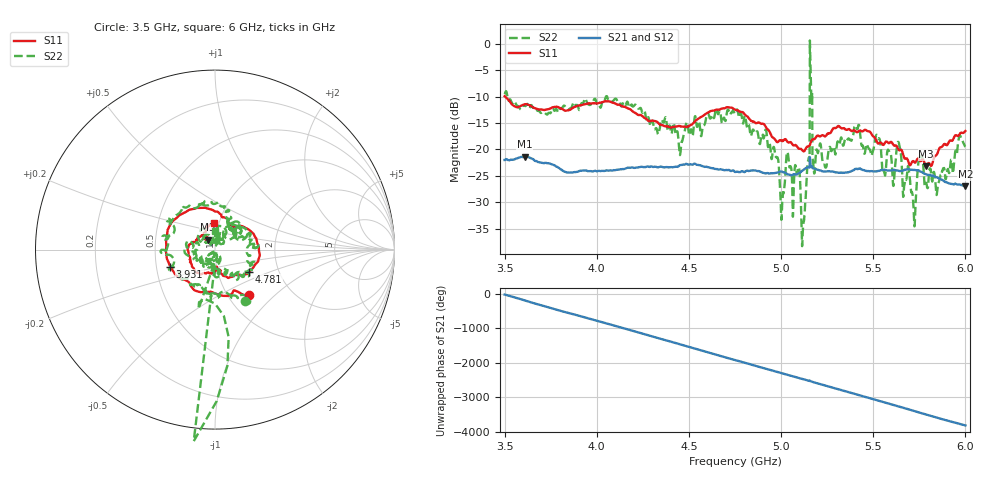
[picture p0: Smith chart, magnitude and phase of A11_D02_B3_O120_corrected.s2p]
! Created with skrf 1.9.0 (http://scikit-rf.org).
# Hz S RI R 50.0
!freq ReS11 ImS11 ReS21 ImS21 ReS12 ImS12 ReS22 ImS22
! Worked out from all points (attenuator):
!   1601 points, 3.5 GHz to 6 GHz, reference 50 ohm
!   highest |S21| = -21.37 dB at 3.609 GHz (marker M1); lowest = -26.9 dB at 6 GHz (marker M2)
!   lowest |S11| = -23.2 dB at 5.787 GHz (marker M3), VSWR 1.15, Z = 45.7 + j5.05 ohm
!   |S11| at or under -10 dB: 3.502 GHz to end of sweep
!   |S22| runs from -38.3 to 0.6 dB; largest |S21 - S12| = 0.00095
!   S11 on the Smith chart (normalised r, x): 3.5 GHz: 1.25, -0.71; 3.931 GHz: 0.59, -0.12; 4.781 GHz: 1.41, -0.37; 6 GHz: 0.95, +0.29
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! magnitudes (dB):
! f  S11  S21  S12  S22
! 3.5 GHz  -9.9  -22.0  -22.0  -9.5
! 3.609 GHz  -11.5  -21.4  -21.4  -11.8
! 3.917 GHz  -11.6  -24.0  -24.0  -11.3
! 3.931 GHz  -11.5  -24.0  -23.9  -10.7
! 4.334 GHz  -15.0  -23.4  -23.3  -17.0
! 4.75 GHz  -12.5  -24.3  -24.2  -13.3
! 4.781 GHz  -12.9  -24.2  -24.2  -13.2
! 4.969 GHz  -18.2  -24.4  -24.4  -21.2
! 5.006 GHz  -18.4  -24.2  -24.2  -30.1
! 5.036 GHz  -18.6  -24.7  -24.7  -20.5
! 5.088 GHz  -19.5  -24.7  -24.6  -24.5
! 5.12 GHz  -20.3  -23.9  -23.8  -34.3
! 5.156 GHz  -19.1  -21.5  -21.4  0.6
! 5.167 GHz  -18.2  -23.2  -23.2  -10.3
! 5.183 GHz  -18.0  -23.7  -23.6  -24.0
! 5.411 GHz  -16.7  -23.7  -23.7  -16.0
! 5.584 GHz  -18.8  -24.0  -23.9  -20.2
! 5.639 GHz  -20.1  -24.1  -24.0  -18.8
! 5.719 GHz  -22.2  -23.9  -23.8  -31.3
! 5.755 GHz  -22.2  -24.2  -24.1  -21.3
! 5.787 GHz  -23.2  -24.7  -24.7  -26.3
! 6 GHz  -16.5  -26.9  -26.9  -19.5
